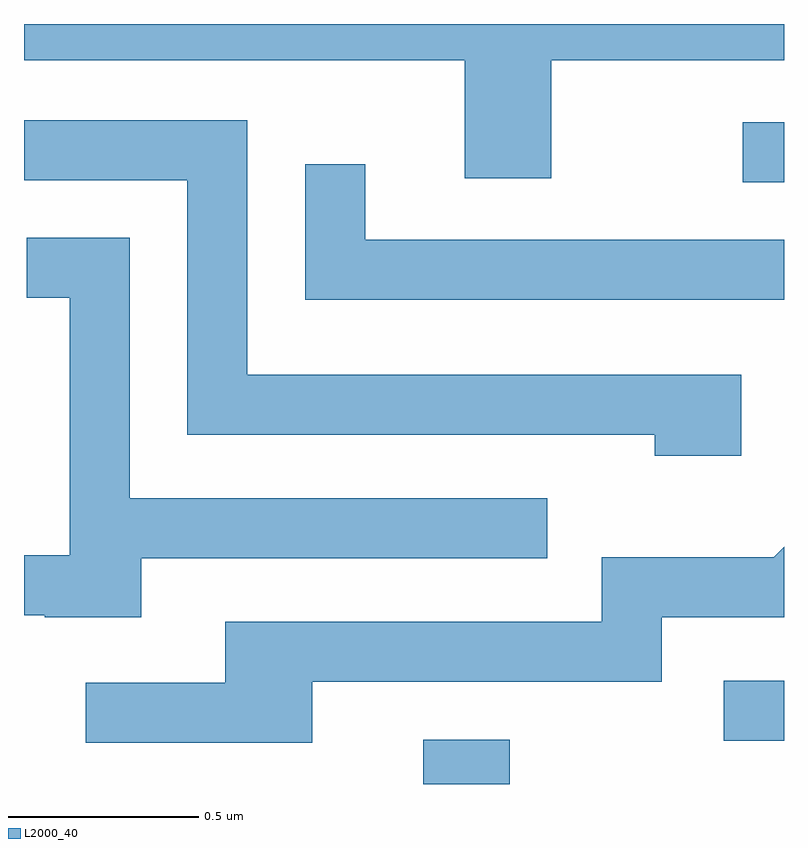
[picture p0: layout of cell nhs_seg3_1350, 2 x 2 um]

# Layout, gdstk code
import gdstk
lib = gdstk.Library(unit=1e-6, precision=1e-09)
def R(c, l, rs):  # rectangles x0, y0, x1, y1
    for r in rs: c.add(gdstk.rectangle(r[:2], r[2:], *l))
def P(c, l, *ps):  # polygons
    for p in ps: c.add(gdstk.Polygon(p, *l))
L2000_40 = (2000, 40)

nhs_seg3_1350 = lib.new_cell('nhs_seg3_1350')
R(nhs_seg3_1350, L2000_40, [(195.661,1232.892,195.889,1233.009), (196.453,1233.006,196.611,1233.164), (196.503,1234.476,196.611,1234.634)])
P(nhs_seg3_1350, L2000_40, [(195.999,1234.796),(196.611,1234.796),(196.611,1234.892),(194.611,1234.892),(194.611,1234.796),(195.771,1234.796),(195.771,1234.486),(195.999,1234.486)],
  [(196.499,1233.969),(195.199,1233.969),(195.199,1234.639),(194.611,1234.639),(194.611,1234.481),(195.041,1234.481),(195.041,1233.811),(196.271,1233.811),(196.271,1233.756),(196.499,1233.756)],
  [(196.611,1234.324),(195.509,1234.324),(195.509,1234.523),(195.351,1234.523),(195.351,1234.166),(196.611,1234.166)],
  [(194.919,1233.486),(195.988,1233.486),(195.988,1233.644),(194.889,1233.644),(194.889,1234.329),(194.618,1234.329),(194.618,1234.171),(194.731,1234.171),(194.731,1233.494),(194.611,1233.494),(194.611,1233.336),(194.665,1233.336),(194.665,1233.331),(194.919,1233.331)],
  [(195.369,1233.161),(196.289,1233.161),(196.289,1233.331),(196.611,1233.331),(196.611,1233.516),(196.584,1233.489),(196.131,1233.489),(196.131,1233.319),(195.141,1233.319),(195.141,1233.159),(194.773,1233.159),(194.773,1233.001),(195.369,1233.001)])

lib.write_gds('nhs_seg3_1350.gds')
